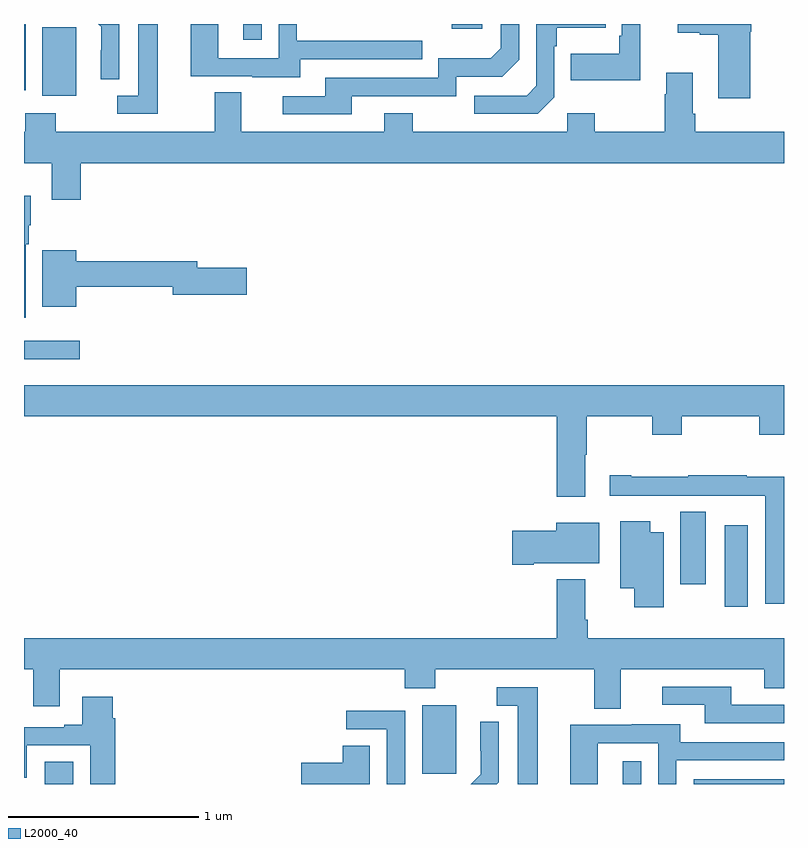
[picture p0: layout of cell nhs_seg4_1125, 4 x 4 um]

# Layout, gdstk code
import gdstk
lib = gdstk.Library(unit=1e-6, precision=1e-09)
def R(c, l, rs):  # rectangles x0, y0, x1, y1
    for r in rs: c.add(gdstk.rectangle(r[:2], r[2:], *l))
def P(c, l, *ps):  # polygons
    for p in ps: c.add(gdstk.Polygon(p, *l))
L2000_40 = (2000, 40)

nhs_seg4_1125 = lib.new_cell('nhs_seg4_1125')
R(nhs_seg4_1125, L2000_40, [(169.109,778.9,169.258,779.018), (172.151,778.9,172.248,779.02), (172.524,778.9,173,778.926), (171.095,778.953,171.274,779.314), (172.688,779.832,172.81,780.262), (172.454,779.952,172.588,780.332), (169,781.136,169.294,781.233), (169.097,782.522,169.276,782.883), (169,782.551,169.008,782.9), (170.153,782.817,170.25,782.9), (171.251,782.876,171.412,782.9)])
P(nhs_seg4_1125, L2000_40, [(170.455,782.715),(171.095,782.715),(171.095,782.811),(170.436,782.811),(170.436,782.9),(170.34,782.9),(170.34,782.721),(170.022,782.721),(170.022,782.9),(169.877,782.9),(169.877,782.625),(170.201,782.625),(170.201,782.621),(170.455,782.621)],
  [(170.725,782.52),(171.276,782.52),(171.276,782.622),(171.516,782.622),(171.606,782.712),(171.606,782.9),(171.51,782.9),(171.51,782.772),(171.457,782.719),(171.18,782.719),(171.18,782.616),(170.585,782.616),(170.585,782.52),(170.361,782.52),(170.361,782.424),(170.725,782.424)],
  [(172.244,782.9),(172.146,782.9),(172.146,782.839),(172.134,782.839),(172.134,782.743),(171.877,782.743),(171.877,782.603),(172.244,782.603)],
  [(169.705,782.9),(169.601,782.9),(169.601,782.523),(169.491,782.523),(169.491,782.427),(169.705,782.427)],
  [(172.823,782.859),(172.828,782.859),(172.828,782.9),(172.44,782.9),(172.44,782.855),(172.556,782.855),(172.556,782.843),(172.655,782.843),(172.655,782.508),(172.823,782.508)],
  [(171.792,782.514),(171.792,782.783),(171.805,782.783),(171.805,782.879),(172.061,782.879),(172.061,782.9),(171.696,782.9),(171.696,782.574),(171.645,782.523),(171.369,782.523),(171.369,782.427),(171.705,782.427)],
  [(169.5,782.9),(169.391,782.9),(169.406,782.885),(169.406,782.762),(169.404,782.762),(169.404,782.608),(169.5,782.608)],
  [(169.298,782.168),(173,782.168),(173,782.332),(172.532,782.332),(172.532,782.428),(172.519,782.428),(172.519,782.644),(172.379,782.644),(172.379,782.531),(172.372,782.531),(172.372,782.332),(172.005,782.332),(172.005,782.431),(171.858,782.431),(171.858,782.332),(171.045,782.332),(171.045,782.431),(170.897,782.431),(170.897,782.332),(170.143,782.332),(170.143,782.54),(170.003,782.54),(170.003,782.332),(169.167,782.332),(169.167,782.431),(169.007,782.431),(169.007,782.332),(169,782.332),(169,782.168),(169.145,782.168),(169.145,781.974),(169.298,781.974)],
  [(169.009,781.742),(169.024,781.742),(169.024,781.842),(169.036,781.842),(169.036,781.996),(169,781.996),(169,781.353),(169.009,781.353)],
  [(169.276,781.516),(169.784,781.516),(169.784,781.474),(170.173,781.474),(170.173,781.616),(169.912,781.616),(169.912,781.652),(169.276,781.652),(169.276,781.708),(169.097,781.708),(169.097,781.412),(169.276,781.412)],
  [(171.955,780.632),(171.963,780.632),(171.963,780.836),(172.306,780.836),(172.306,780.737),(172.461,780.737),(172.461,780.836),(172.87,780.836),(172.87,780.737),(173,780.737),(173,781),(169,781),(169,780.836),(171.803,780.836),(171.803,780.411),(171.955,780.411)],
  [(173,780.516),(172.805,780.516),(172.805,780.526),(172.495,780.526),(172.495,780.516),(172.195,780.516),(172.195,780.526),(172.083,780.526),(172.083,780.416),(172.358,780.416),(172.358,780.417),(172.692,780.417),(172.692,780.416),(172.902,780.416),(172.902,779.85),(173,779.85)],
  [(172.366,780.226),(172.297,780.226),(172.297,780.283),(172.139,780.283),(172.139,779.93),(172.211,779.93),(172.211,779.829),(172.366,779.829)],
  [(171.682,780.062),(172.027,780.062),(172.027,780.274),(171.8,780.274),(171.8,780.233),(171.57,780.233),(171.57,780.055),(171.682,780.055)],
  [(172.141,779.504),(172.895,779.504),(172.895,779.405),(173,779.405),(173,779.668),(171.968,779.668),(171.968,779.764),(171.955,779.764),(171.955,779.977),(171.803,779.977),(171.803,779.668),(169,779.668),(169,779.504),(169.049,779.504),(169.049,779.31),(169.189,779.31),(169.189,779.504),(171.005,779.504),(171.005,779.405),(171.165,779.405),(171.165,779.504),(172.001,779.504),(172.001,779.296),(172.141,779.296)],
  [(173,779.316),(172.723,779.316),(172.723,779.412),(172.359,779.412),(172.359,779.316),(172.583,779.316),(172.583,779.22),(173,779.22)],
  [(171.703,779.409),(171.489,779.409),(171.489,779.313),(171.599,779.313),(171.599,778.9),(171.703,778.9)],
  [(169.481,779.246),(169.468,779.246),(169.468,779.359),(169.307,779.359),(169.307,779.212),(169.211,779.212),(169.211,779.199),(169,779.199),(169,778.932),(169.015,778.932),(169.015,779.103),(169.349,779.103),(169.349,778.9),(169.481,778.9)],
  [(171.006,779.286),(170.697,779.286),(170.697,779.187),(170.91,779.187),(170.91,778.9),(171.006,778.9)],
  [(171.498,778.91),(171.498,779.228),(171.402,779.228),(171.402,779.074),(171.404,779.074),(171.404,778.952),(171.352,778.9),(171.488,778.9)],
  [(172.02,779.115),(172.338,779.115),(172.338,778.9),(172.434,778.9),(172.434,779.025),(173,779.025),(173,779.121),(172.453,779.121),(172.453,779.215),(172.199,779.215),(172.199,779.211),(171.875,779.211),(171.875,778.9),(172.02,778.9)],
  [(170.821,779.102),(170.678,779.102),(170.678,779.012),(170.46,779.012),(170.46,778.9),(170.821,778.9)])

lib.write_gds('nhs_seg4_1125.gds')
